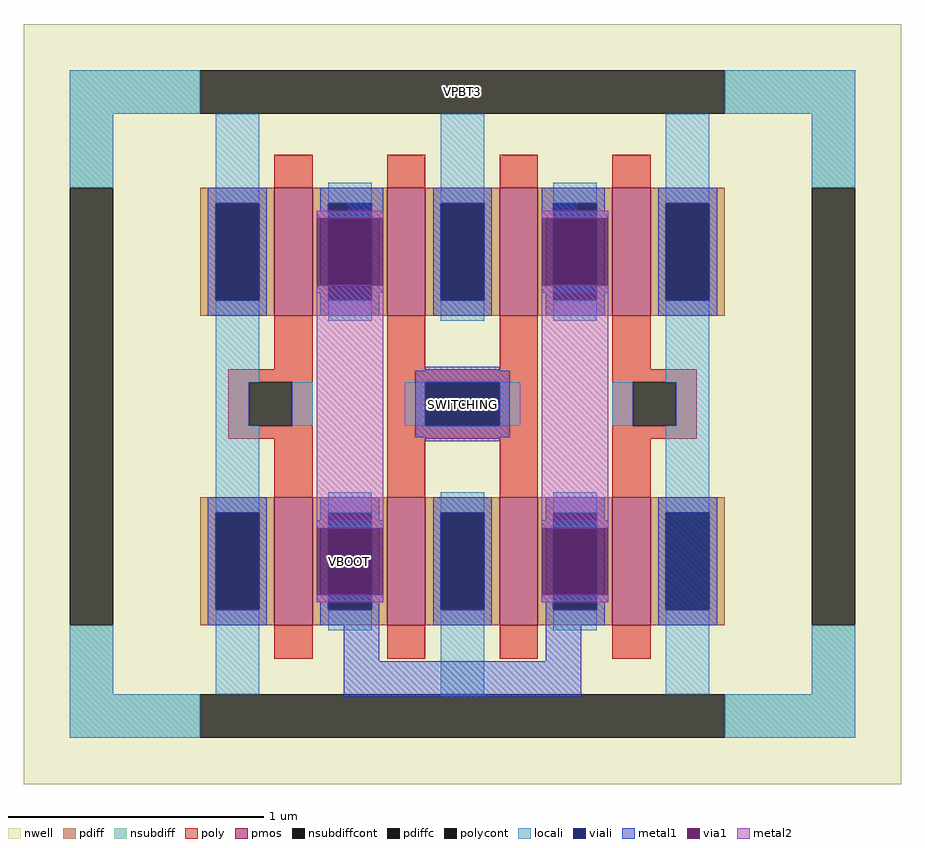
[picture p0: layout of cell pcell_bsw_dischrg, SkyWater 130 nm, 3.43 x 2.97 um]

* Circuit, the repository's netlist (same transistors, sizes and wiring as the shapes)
** sch_path: /home/yohanes/sky130_projects/UNIC-CASS-2024/xschem/pcell_bsw_dischrg.sch
.subckt pcell_bsw_dischrg VPBT3 VBOOT SWITCHING
*.PININFO VPBT3:I SWITCHING:I VBOOT:I
XM1 VBOOT SWITCHING VPBT3 VPBT3 sky130_fd_pr__pfet_01v8 L=0.15 W=0.5 nf=1 m=4
XM2 VBOOT VPBT3 VPBT3 VPBT3 sky130_fd_pr__pfet_01v8 L=0.15 W=0.5 nf=1 m=1
XM3 VBOOT VPBT3 VPBT3 VPBT3 sky130_fd_pr__pfet_01v8 L=0.15 W=0.5 nf=1 m=1
XM4 VBOOT VPBT3 VPBT3 VPBT3 sky130_fd_pr__pfet_01v8 L=0.15 W=0.5 nf=1 m=1
XM5 VBOOT VPBT3 VPBT3 VPBT3 sky130_fd_pr__pfet_01v8 L=0.15 W=0.5 nf=1 m=1
.ends
.end

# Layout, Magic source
magic
tech sky130A
magscale 1 2
<< nwell >>
rect 611 -449 1297 145
<< nsubdiff >>
rect 647 75 749 109
rect 1159 75 1261 109
rect 647 17 681 75
rect 1227 17 1261 75
rect 647 -379 681 -325
rect 1227 -379 1261 -325
rect 647 -413 749 -379
rect 1159 -413 1261 -379
<< nsubdiffcont >>
rect 749 75 1159 109
rect 647 -325 681 17
rect 1227 -325 1261 17
rect 749 -413 1159 -379
<< poly >>
rect 807 -125 837 -109
rect 771 -135 837 -125
rect 771 -169 787 -135
rect 821 -169 837 -135
rect 771 -179 837 -169
rect 807 -199 837 -179
rect 895 -125 925 -109
rect 983 -125 1013 -109
rect 895 -135 1013 -125
rect 895 -169 925 -135
rect 983 -169 1013 -135
rect 895 -179 1013 -169
rect 895 -199 925 -179
rect 983 -199 1013 -179
rect 1071 -125 1101 -109
rect 1071 -135 1137 -125
rect 1071 -169 1087 -135
rect 1121 -169 1137 -135
rect 1071 -179 1137 -169
rect 1071 -199 1101 -179
<< polycont >>
rect 787 -169 821 -135
rect 925 -169 983 -135
rect 1087 -169 1121 -135
<< locali >>
rect 647 75 749 109
rect 1159 75 1261 109
rect 647 17 681 75
rect 761 21 795 75
rect 937 21 971 75
rect 1113 21 1147 75
rect 1227 17 1261 75
rect 761 -135 795 -87
rect 1113 -135 1147 -86
rect 761 -169 787 -135
rect 821 -169 837 -135
rect 909 -169 925 -135
rect 983 -169 999 -135
rect 1071 -169 1087 -135
rect 1121 -169 1147 -135
rect 761 -222 795 -169
rect 647 -379 681 -325
rect 761 -379 795 -327
rect 937 -379 971 -326
rect 1113 -379 1147 -169
rect 1227 -379 1261 -325
rect 647 -413 749 -379
rect 1159 -413 1261 -379
<< viali >>
rect 925 -169 983 -135
<< metal1 >>
rect 864 -1 892 17
rect 840 -7 892 -1
rect 840 -65 843 -59
rect 889 -65 892 -59
rect 1016 -1 1044 17
rect 1016 -7 1068 -1
rect 1016 -65 1068 -59
rect 925 -126 983 -123
rect 917 -135 991 -126
rect 917 -169 925 -135
rect 983 -169 991 -135
rect 917 -178 991 -169
rect 925 -181 983 -178
rect 840 -249 892 -243
rect 840 -307 892 -301
rect 1016 -249 1068 -243
rect 1016 -307 1068 -301
rect 861 -353 889 -320
rect 1019 -353 1047 -320
rect 861 -381 1047 -353
<< via1 >>
rect 840 -59 892 -7
rect 1016 -59 1068 -7
rect 840 -301 892 -249
rect 1016 -301 1068 -249
<< metal2 >>
rect 840 -7 892 -1
rect 840 -249 892 -59
rect 840 -307 892 -301
rect 1016 -7 1068 -1
rect 1016 -249 1068 -59
rect 1016 -307 1068 -301
use sky130_fd_pr__pfet_01v8_275TTJ  sky130_fd_pr__pfet_01v8_275TTJ_0
transform 1 0 910 0 1 -33
box -109 -112 109 112
use sky130_fd_pr__pfet_01v8_275TTJ  sky130_fd_pr__pfet_01v8_275TTJ_1
transform 1 0 998 0 1 -275
box -109 -112 109 112
use sky130_fd_pr__pfet_01v8_275TTJ  sky130_fd_pr__pfet_01v8_275TTJ_2
transform 1 0 910 0 1 -275
box -109 -112 109 112
use sky130_fd_pr__pfet_01v8_275TTJ  sky130_fd_pr__pfet_01v8_275TTJ_3
transform 1 0 822 0 1 -33
box -109 -112 109 112
use sky130_fd_pr__pfet_01v8_275TTJ  sky130_fd_pr__pfet_01v8_275TTJ_4
transform 1 0 1086 0 1 -33
box -109 -112 109 112
use sky130_fd_pr__pfet_01v8_275TTJ  sky130_fd_pr__pfet_01v8_275TTJ_6
transform 1 0 822 0 1 -275
box -109 -112 109 112
use sky130_fd_pr__pfet_01v8_275TTJ  sky130_fd_pr__pfet_01v8_275TTJ_7
transform 1 0 998 0 1 -33
box -109 -112 109 112
use sky130_fd_pr__pfet_01v8_275TTJ  sky130_fd_pr__pfet_01v8_275TTJ_8
transform 1 0 1086 0 1 -275
box -109 -112 109 112
<< labels >>
flabel viali 954 -152 954 -152 0 FreeSans 80 0 0 0 SWITCHING
port 2 nsew
flabel metal2 s 866 -275 866 -275 0 FreeSans 80 0 0 0 VBOOT
port 3 nsew
flabel locali s 954 92 954 92 0 FreeSans 320 0 0 0 VPBT3
port 1 nsew
<< end >>

# cell sky130_fd_pr__pfet_01v8_275TTJ: kit device sky130_fd_pr__pfet_01v8, w 0.5 l 0.15 m 1 nf 1 diffcov 100 polycov 100 guard 0 glc 1 grc 1 gtc 1 gbc 1 tbcov 100 rlcov 100 topc 0 botc 0 poverlap 0 doverlap 0 lmin 0.15 wmin 0.42 compatible {sky130_fd_pr__pfet_01v8 sky130_fd_pr__pfet_01v8_lvt sky130_fd_pr__pfet_01v8_hvt sky130_fd_pr__pfet_g5v0d10v5} full_metal 1 viasrc 100 viadrn 100 viagate 100 viagb 0 viagr 0 viagl 0 viagt 0
